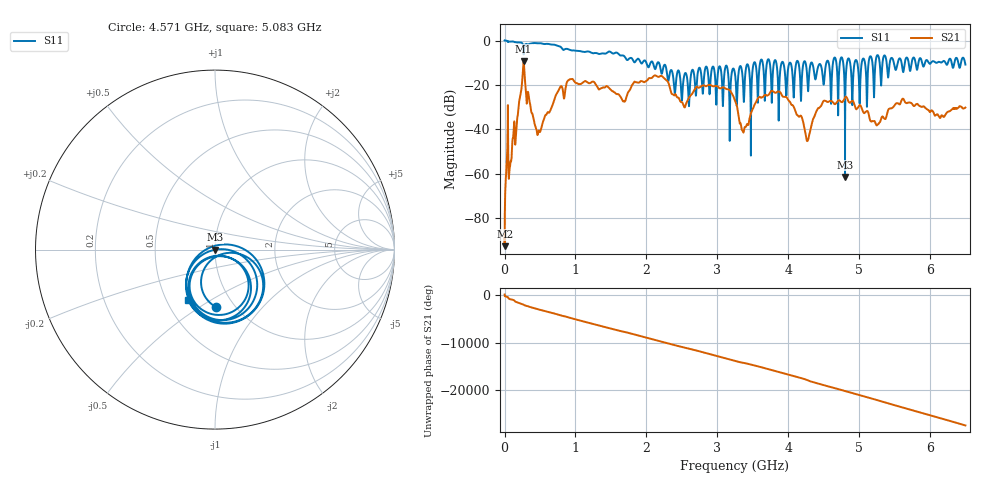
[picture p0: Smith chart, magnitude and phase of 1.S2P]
!Keysight Technologies,E5063A,MY54503115,A.05.08
!Date: Wed Mar 06 09:47:44 2024
!Data & Calibration Information:
!Freq	S11:NONE(--)	S21:NONE(--)	S12:NONE(--)	S22:NONE(--)
# Hz S dB R 50
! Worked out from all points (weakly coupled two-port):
!   10001 points, 100 kHz to 6.5 GHz, reference 50 ohm
!   highest |S21| = -9.37 dB at 268.5 MHz (marker M1); lowest = -92.5 dB at 750 kHz (marker M2)
!   lowest |S11| = -61.3 dB at 4.802 GHz (marker M3), VSWR 1.00, Z = 50 - j0.0731 ohm
!   |S11| at or under -10 dB: 2.177 GHz to 3.518 GHz (1.341 GHz wide, 47.1 % of centre); 3.931 GHz to 4.021 GHz (90.94 MHz wide, 2.29 % of centre); 4.337 GHz to 4.539 GHz (202.2 MHz wide, 4.56 % of centre) (the widest 3 of 33)
!   S12 and S22 are empty: the file has one direction only
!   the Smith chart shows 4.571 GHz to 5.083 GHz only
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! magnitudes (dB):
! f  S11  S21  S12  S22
! 100 kHz  0.0  -88.8  -  -
! 750 kHz  0.0  -92.5  -  -
! 39.75 MHz  -0.2  -46.5  -  -
! 86.55 MHz  -0.5  -54.2  -  -
! 268.5 MHz  -6.2  -9.4  -  -
! 479.1 MHz  -1.2  -40.8  -  -
! 778.8 MHz  -2.6  -21.1  -  -
! 1.084 GHz  -4.9  -19.4  -  -
! 1.682 GHz  -6.9  -27.2  -  -
! 2.167 GHz  -9.7  -16.3  -  -
! 2.528 GHz  -16.7  -29.4  -  -
! 2.802 GHz  -22.0  -20.1  -  -
! 3.25 GHz  -15.1  -27.0  -  -
! 3.368 GHz  -22.8  -41.4  -  -
! 3.775 GHz  -21.2  -22.7  -  -
! 4.267 GHz  -15.3  -45.2  -  -
! 4.334 GHz  -9.9  -37.4  -  -
! 4.753 GHz  -7.5  -27.7  -  -
! 4.802 GHz  -61.3  -25.6  -  -
! 5.254 GHz  -6.7  -38.1  -  -
! 5.417 GHz  -14.8  -30.9  -  -
! 6.5 GHz  -10.8  -30.1  -  -
